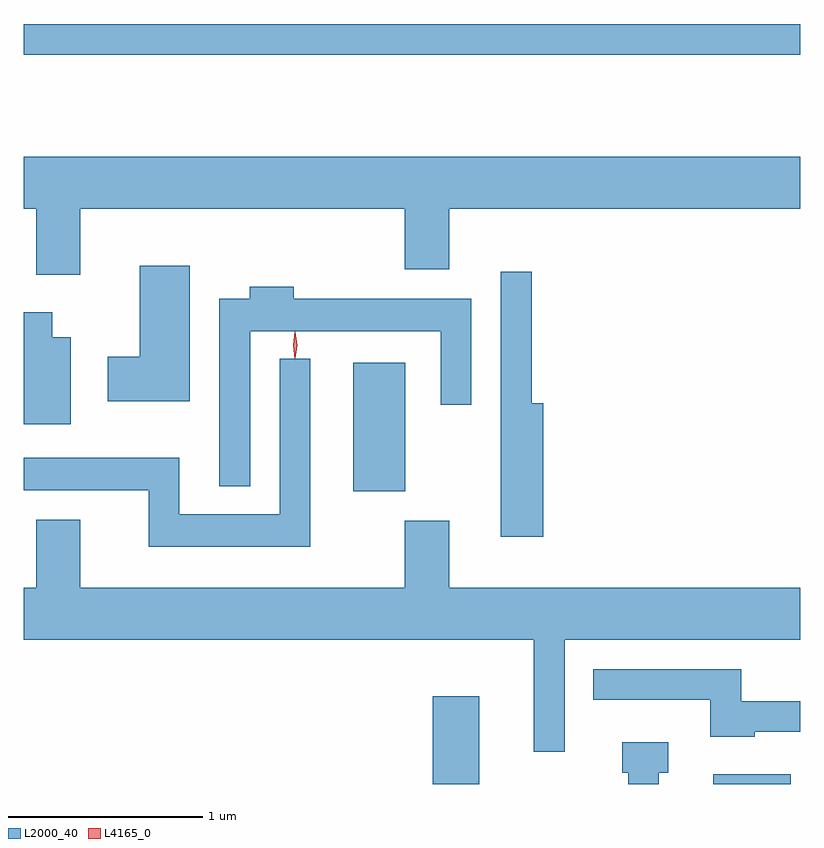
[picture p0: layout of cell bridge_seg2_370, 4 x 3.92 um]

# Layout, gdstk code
import gdstk
lib = gdstk.Library(unit=1e-6, precision=1e-09)
def R(c, l, rs):  # rectangles x0, y0, x1, y1
    for r in rs: c.add(gdstk.rectangle(r[:2], r[2:], *l))
def P(c, l, *ps):  # polygons
    for p in ps: c.add(gdstk.Polygon(p, *l))
L2000_40 = (2000, 40)
L4165_0 = (4165, 0)

bridge_seg2_370 = lib.new_cell('bridge_seg2_370')
R(bridge_seg2_370, L2000_40, [(625.256,1012.053,625.494,1012.504), (626.701,1012.053,627.099,1012.104), (624.846,1013.561,625.114,1014.224), (623.148,1015.811,627.148,1015.969)])
P(bridge_seg2_370, L2000_40, [(623.439,1015.016),(625.111,1015.016),(625.111,1014.706),(625.339,1014.706),(625.339,1015.016),(627.148,1015.016),(627.148,1015.284),(623.148,1015.284),(623.148,1015.016),(623.211,1015.016),(623.211,1014.676),(623.439,1014.676)],
  [(624.004,1014.724),(623.746,1014.724),(623.746,1014.254),(623.581,1014.254),(623.581,1014.026),(624.004,1014.026)],
  [(625.824,1014.014),(625.764,1014.014),(625.764,1014.693),(625.606,1014.693),(625.606,1013.326),(625.824,1013.326)],
  [(624.314,1014.386),(625.296,1014.386),(625.296,1014.008),(625.454,1014.008),(625.454,1014.554),(624.539,1014.554),(624.539,1014.614),(624.311,1014.614),(624.311,1014.554),(624.156,1014.554),(624.156,1013.588),(624.314,1013.588)],
  [(623.389,1014.354),(623.294,1014.354),(623.294,1014.484),(623.148,1014.484),(623.148,1013.906),(623.389,1013.906)],
  [(624.624,1014.243),(624.466,1014.243),(624.466,1013.444),(623.949,1013.444),(623.949,1013.734),(623.148,1013.734),(623.148,1013.566),(623.791,1013.566),(623.791,1013.276),(624.624,1013.276)],
  [(625.934,1012.796),(627.148,1012.796),(627.148,1013.064),(625.339,1013.064),(625.339,1013.409),(625.111,1013.409),(625.111,1013.064),(623.439,1013.064),(623.439,1013.414),(623.211,1013.414),(623.211,1013.064),(623.148,1013.064),(623.148,1012.796),(625.776,1012.796),(625.776,1012.218),(625.934,1012.218)],
  [(626.914,1012.321),(627.148,1012.321),(627.148,1012.479),(626.844,1012.479),(626.844,1012.644),(626.083,1012.644),(626.083,1012.486),(626.686,1012.486),(626.686,1012.296),(626.914,1012.296)],
  [(626.419,1012.111),(626.468,1012.111),(626.468,1012.269),(626.231,1012.269),(626.231,1012.111),(626.261,1012.111),(626.261,1012.053),(626.419,1012.053)])
P(bridge_seg2_370, L4165_0, [(624.547,1014.247),(624.546,1014.248),(624.537,1014.314),(624.546,1014.38),(624.547,1014.381),(624.547,1014.38),(624.557,1014.314),(624.547,1014.248)],
  [(624.545,1014.244),(624.535,1014.313),(624.545,1014.382),(624.546,1014.383),(624.546,1014.382),(624.556,1014.313),(624.546,1014.244),(624.546,1014.244)])

lib.write_gds('bridge_seg2_370.gds')
